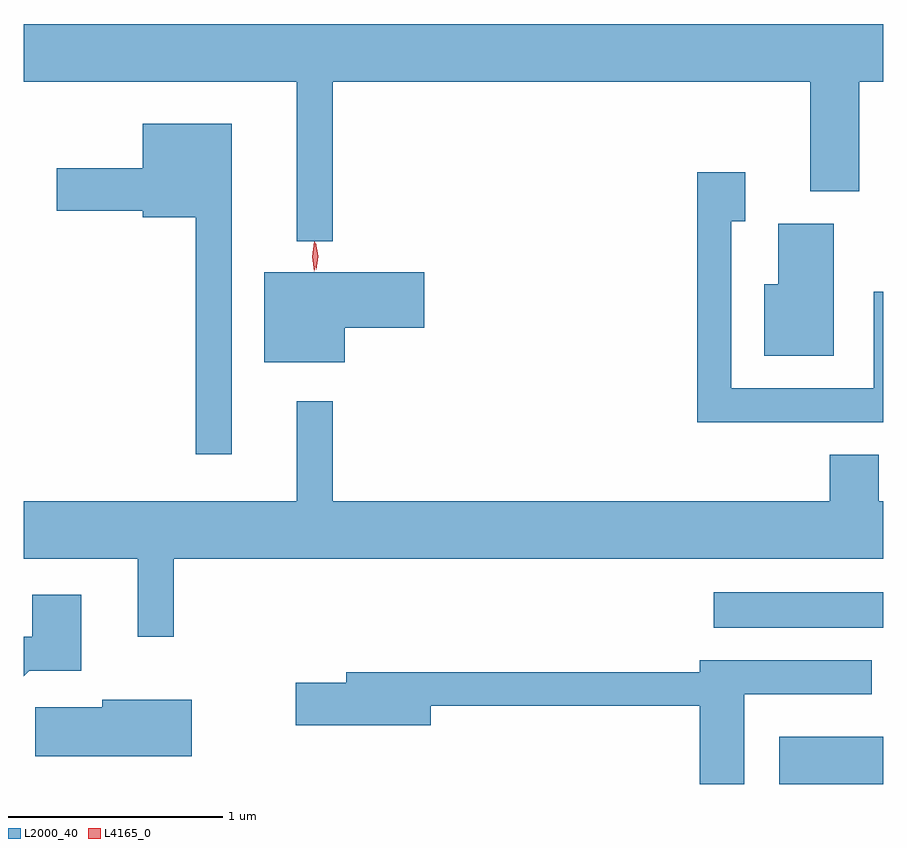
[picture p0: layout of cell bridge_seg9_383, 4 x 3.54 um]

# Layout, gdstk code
import gdstk
lib = gdstk.Library(unit=1e-6, precision=1e-09)
def R(c, l, rs):  # rectangles x0, y0, x1, y1
    for r in rs: c.add(gdstk.rectangle(r[:2], r[2:], *l))
def P(c, l, *ps):  # polygons
    for p in ps: c.add(gdstk.Polygon(p, *l))
L2000_40 = (2000, 40)
L4165_0 = (4165, 0)

bridge_seg9_383 = lib.new_cell('bridge_seg9_383')
R(bridge_seg9_383, L2000_40, [(941.236,1973.008,941.721,1973.229), (940.933,1973.736,941.721,1973.899)])
P(bridge_seg9_383, L2000_40, [(939.159,1976.276),(941.381,1976.276),(941.381,1975.766),(941.609,1975.766),(941.609,1976.276),(941.721,1976.276),(941.721,1976.544),(937.721,1976.544),(937.721,1976.276),(938.991,1976.276),(938.991,1975.533),(939.159,1975.533)],
  [(938.689,1976.079),(938.276,1976.079),(938.276,1975.874),(937.876,1975.874),(937.876,1975.676),(938.276,1975.676),(938.276,1975.646),(938.521,1975.646),(938.521,1974.543),(938.689,1974.543)],
  [(941.721,1975.298),(941.676,1975.298),(941.676,1974.849),(941.014,1974.849),(941.014,1975.626),(941.079,1975.626),(941.079,1975.854),(940.856,1975.854),(940.856,1974.691),(941.721,1974.691)],
  [(941.489,1975.614),(941.231,1975.614),(941.231,1975.334),(941.166,1975.334),(941.166,1975.001),(941.489,1975.001)],
  [(939.214,1975.131),(939.584,1975.131),(939.584,1975.389),(938.841,1975.389),(938.841,1974.971),(939.214,1974.971)],
  [(938.419,1974.056),(941.721,1974.056),(941.721,1974.324),(941.699,1974.324),(941.699,1974.539),(941.471,1974.539),(941.471,1974.324),(939.159,1974.324),(939.159,1974.788),(938.991,1974.788),(938.991,1974.324),(937.721,1974.324),(937.721,1974.056),(938.251,1974.056),(938.251,1973.693),(938.419,1973.693)],
  [(937.747,1973.536),(937.989,1973.536),(937.989,1973.889),(937.761,1973.889),(937.761,1973.694),(937.721,1973.694),(937.721,1973.51)],
  [(941.074,1973.426),(941.668,1973.426),(941.668,1973.584),(940.866,1973.584),(940.866,1973.529),(939.221,1973.529),(939.221,1973.479),(938.986,1973.479),(938.986,1973.281),(939.614,1973.281),(939.614,1973.371),(940.866,1973.371),(940.866,1973.008),(941.074,1973.008)],
  [(938.504,1973.399),(938.086,1973.399),(938.086,1973.364),(937.776,1973.364),(937.776,1973.136),(938.504,1973.136)])
P(bridge_seg9_383, L4165_0, [(939.082,1975.4),(939.082,1975.401),(939.072,1975.463),(939.08,1975.526),(939.081,1975.527),(939.081,1975.526),(939.092,1975.464),(939.083,1975.401)],
  [(939.073,1975.394),(939.073,1975.394),(939.064,1975.462),(939.074,1975.53),(939.075,1975.53),(939.075,1975.53),(939.084,1975.462),(939.074,1975.394)])

lib.write_gds('bridge_seg9_383.gds')
